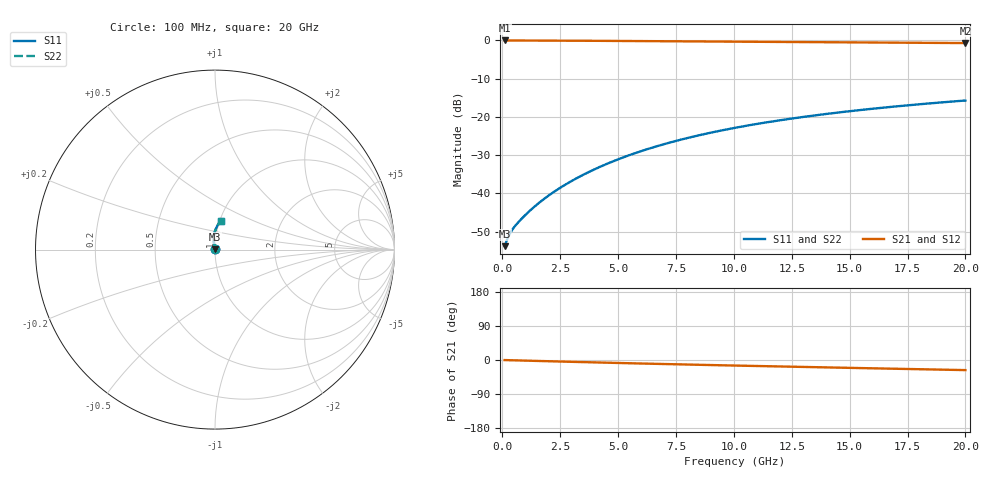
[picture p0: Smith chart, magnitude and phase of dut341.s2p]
! Touchstone file exported from HFSS 2024.1.0
!  File:  C:/UserFiles/LocalFiles/RDL_TSV_Batchsim/temp_RDL_top_341_1779607793.aedt
!  Generated:  03:32:10 PM May 24, 2026
!  Design:  RDL_top
!  Project:  temp_RDL_top_341_1779607793
!  Setup:  Setup1
!  Solution:  Sweep
! Variables:
!  dtsv = 10.80580581um
!  hbump = 3um
!  htsv = 82.89um
!  ldown = 100um
!  lrdl = 442.35um
!  p = 40
!  p1 = 41.01um
!  rhole = 1um
!  t = 450um
!  tdown = 3.915915916um
!  trdl = 3.3um
!  wdown = 15.38538539um
!  wrdl = 29.26um
# GHz S MA R 50.000000
! Terminal data exported
! Port[1] = Box2_T1
! Port[2] = Box2_T2
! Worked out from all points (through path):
!   200 points, 100 MHz to 20 GHz, reference 50 ohm
!   highest |S21| = -0.02 dB at 100 MHz (marker M1); lowest = -0.7 dB at 20 GHz (marker M2)
!   group delay of S21, straight-line fit = 3.64 ps
!   lowest |S11| = -53.8 dB at 100 MHz (marker M3), VSWR 1.00, Z = 50.2 + j0.0711 ohm
!   |S11| at or under -10 dB: start of sweep to end of sweep
!   |S22| runs from -53.8 to -15.7 dB; largest |S21 - S12| = 4.3e-15
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0.1  0.00205 20.2  0.9981 -0.2  0.9981 -0.2  0.00205 20.2
! Gamma 0 0 0 0
! Port Impedance 50 0 50 0
0.2  0.002469 32.0  0.9979 -0.4  0.9979 -0.4  0.002469 32.0
0.3  0.002887 38.6  0.9976 -0.5  0.9976 -0.5  0.002887 38.6
0.4  0.003257 43.3  0.9974 -0.7  0.9974 -0.7  0.003257 43.3
0.5  0.003595 47.3  0.9973 -0.8  0.9973 -0.8  0.003595 47.3
0.8  0.00457 57.7  0.9968 -1.3  0.9968 -1.3  0.00457 57.7
1.2  0.005993 68.4  0.9962 -2.0  0.9962 -2.0  0.005993 68.4
1.7  0.008035 77.9  0.9952 -2.8  0.9952 -2.8  0.008035 77.9
2.2  0.01035 84.5  0.994 -3.6  0.994 -3.6  0.01035 84.5
2.8  0.01348 90.0  0.9921 -4.5  0.9921 -4.5  0.01348 90.0
3.5  0.01759 94.3  0.9896 -5.6  0.9896 -5.6  0.01758 94.3
4.2  0.02217 97.0  0.9867 -6.7  0.9867 -6.7  0.02217 97.0
5  0.02792 98.8  0.9831 -7.9  0.9831 -7.9  0.02792 98.8
5.9  0.03497 99.5  0.9789 -9.2  0.9789 -9.2  0.03497 99.5
6.8  0.0425 99.4  0.9745 -10.4  0.9745 -10.4  0.0425 99.4
8.4  0.05674 98.0  0.9668 -12.6  0.9668 -12.6  0.05673 98.0
10.1  0.07257 95.6  0.959 -14.7  0.959 -14.7  0.07255 95.6
11.7  0.08772 92.9  0.9522 -16.7  0.9522 -16.7  0.0877 92.9
13.4  0.1038 89.9  0.9454 -18.8  0.9454 -18.8  0.1038 89.9
15  0.1188 87.1  0.9394 -20.8  0.9394 -20.8  0.1188 87.1
16.7  0.1345 84.2  0.9335 -22.8  0.9335 -22.8  0.1345 84.1
20  0.1639 78.7  0.9226 -26.7  0.9226 -26.7  0.1639 78.6
